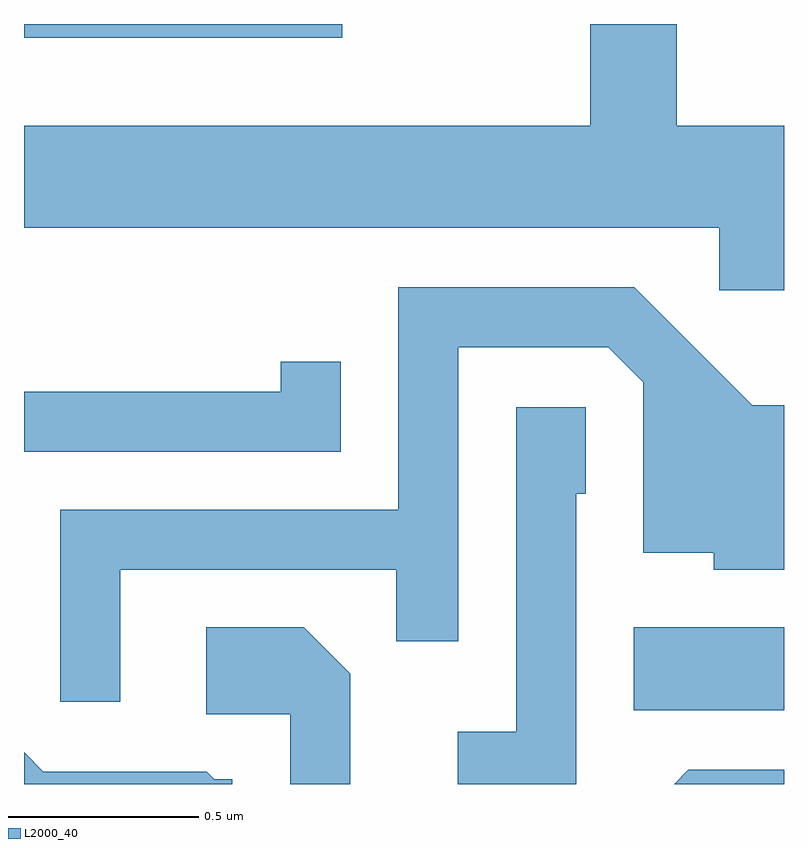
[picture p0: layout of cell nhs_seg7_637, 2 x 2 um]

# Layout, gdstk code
import gdstk
lib = gdstk.Library(unit=1e-6, precision=1e-09)
def R(c, l, rs):  # rectangles x0, y0, x1, y1
    for r in rs: c.add(gdstk.rectangle(r[:2], r[2:], *l))
def P(c, l, *ps):  # polygons
    for p in ps: c.add(gdstk.Polygon(p, *l))
L2000_40 = (2000, 40)

nhs_seg7_637 = lib.new_cell('nhs_seg7_637')
R(nhs_seg7_637, L2000_40, [(191.216,1757.446,191.611,1757.664), (189.611,1759.216,190.448,1759.252)])
P(nhs_seg7_637, L2000_40, [(191.611,1758.984),(191.329,1758.984),(191.329,1759.252),(191.101,1759.252),(191.101,1758.984),(189.611,1758.984),(189.611,1758.716),(191.441,1758.716),(191.441,1758.551),(191.611,1758.551)],
  [(189.864,1757.816),(190.591,1757.816),(190.591,1757.628),(190.754,1757.628),(190.754,1758.401),(191.149,1758.401),(191.241,1758.309),(191.241,1757.861),(191.426,1757.861),(191.426,1757.816),(191.611,1757.816),(191.611,1758.249),(191.527,1758.249),(191.217,1758.559),(190.596,1758.559),(190.596,1757.974),(189.706,1757.974),(189.706,1757.468),(189.864,1757.468)],
  [(190.444,1758.363),(190.286,1758.363),(190.286,1758.284),(189.611,1758.284),(189.611,1758.126),(190.444,1758.126)],
  [(191.064,1758.016),(191.089,1758.016),(191.089,1758.244),(190.906,1758.244),(190.906,1757.389),(190.753,1757.389),(190.753,1757.252),(191.064,1757.252)],
  [(190.469,1757.542),(190.347,1757.664),(190.091,1757.664),(190.091,1757.436),(190.311,1757.436),(190.311,1757.252),(190.469,1757.252)],
  [(190.159,1757.264),(190.112,1757.264),(190.092,1757.284),(189.662,1757.284),(189.611,1757.335),(189.611,1757.252),(190.159,1757.252)],
  [(191.611,1757.289),(191.359,1757.289),(191.322,1757.252),(191.611,1757.252)])

lib.write_gds('nhs_seg7_637.gds')
